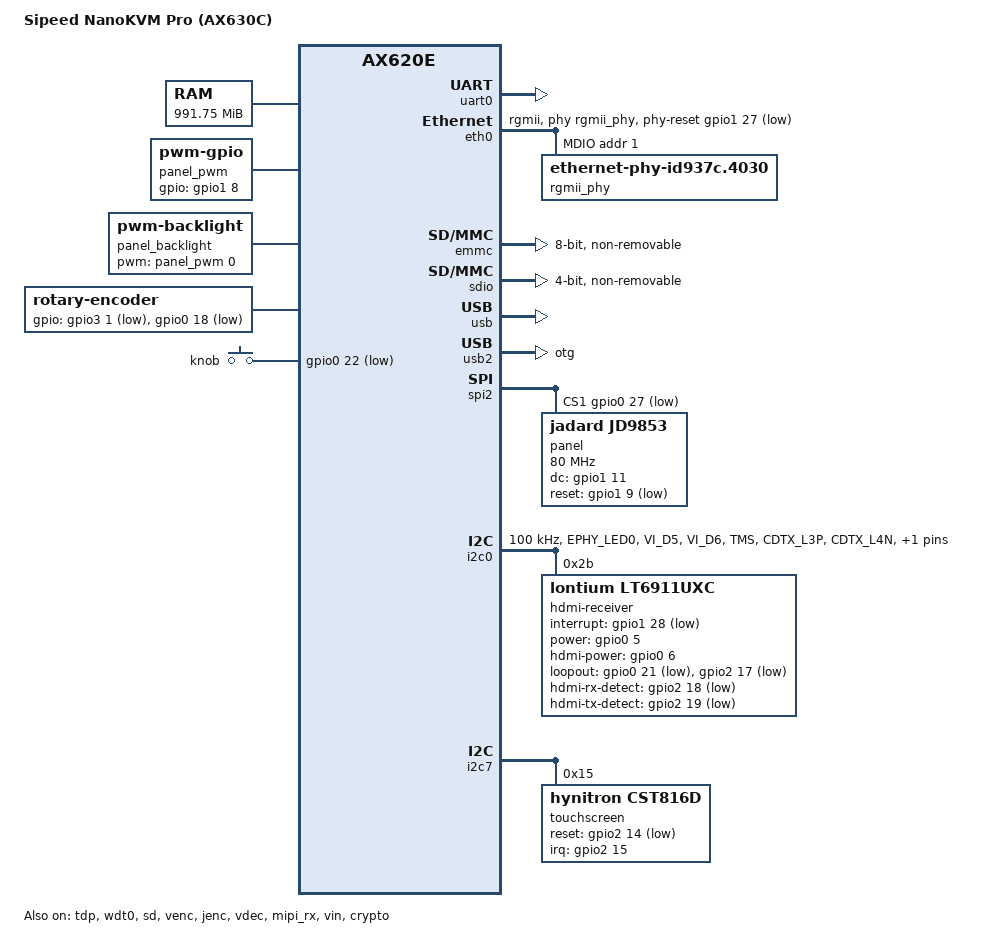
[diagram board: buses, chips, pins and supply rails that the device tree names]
// SPDX-License-Identifier: GPL-2.0-or-later
/*
 * Sipeed NanoKVM Pro (AX630C)
 *
 * DRAM from live U-Boot bdinfo: bank 0x40001000 / 0x7ffff000 (~2 GiB).
 * First 4K at 0x40000000 is the vendor DDR retrain window.
 */

/dts-v1/;

#include "ax620e.dtsi"
#include <dt-bindings/input/linux-event-codes.h>

/ {
	model = "Sipeed NanoKVM Pro (AX630C)";
	compatible = "sipeed,nanokvm-pro", "axera,ax630c", "axera,ax620e";

	/* The vendor ATF does not implement PSCI SYSTEM_RESET. */
	reboot {
		compatible = "syscon-reboot";
		regmap = <&common_reset>;
		offset = <0xa8>;
		mask = <0x1>;
		value = <0x1>;
		priority = <192>;
	};

	chosen {
		stdout-path = "serial0:115200n8";
		bootargs = "earlycon=uart8250,mmio32,0x04880000 console=ttyS0,115200n8";
	};

	/*
	 * Real DRAM is 1 GiB at 0x40000000. ATF and OP-TEE are omitted
	 * from these ranges. 0x6D400000-0x80000000 is the old CMM window:
	 * the bottom 100 MiB stays a reusable CMA pool, and the top 200 MiB
	 * is the open capture/encoder carveout. Do not pass mem=724M.
	 * Load the DTB at 0x47000000; 0x46000000 is inside OP-TEE.
	 */
	memory@40001000 {
		device_type = "memory";
		reg = <0x0 0x40001000 0x0 0x0003f000>,
		      <0x0 0x40080000 0x0 0x04180000>,
		      <0x0 0x46200000 0x0 0x27200000>,
		      <0x0 0x6d400000 0x0 0x12c00000>;
	};

	reserved-memory {
		#address-cells = <2>;
		#size-cells = <2>;
		ranges;

		ddr_retrain: ddr-retrain@40000000 {
			reg = <0x0 0x40000000 0x0 0x1000>;
			no-map;
		};

		atf_reserved: atf@40040000 {
			reg = <0x0 0x40040000 0x0 0x40000>;
			no-map;
		};

		optee_reserved: optee@44200000 {
			reg = <0x0 0x44200000 0x0 0x2000000>;
			no-map;
		};

		/*
		 * Former CMM window, bottom 100 MiB. The top 200 MiB is
		 * no-map below so the encoder and capture DMA see fixed
		 * bus addresses. No IOMMU.
		 */
		cmm_cma: cmm-cma@6d400000 {
			compatible = "shared-dma-pool";
			reusable;
			reg = <0x0 0x6d400000 0x0 0x06400000>;
			linux,cma-default;
		};

		/* Encoder frame buffers. The kernel does not map these. */
		venc_framebuf: venc-framebuf@73800000 {
			reg = <0x0 0x73800000 0x0 0x06000000>;
			no-map;
		};

		/* Capture buffers. Coherent pool, power-of-two slots. */
		capture_pool: capture-pool@79800000 {
			compatible = "shared-dma-pool";
			reg = <0x0 0x79800000 0x0 0x06000000>;
			no-map;
		};

		/* VCMD command, status, and register pools. */
		venc_cmdbuf: venc-cmdbuf@7f800000 {
			compatible = "shared-dma-pool";
			reg = <0x0 0x7f800000 0x0 0x00800000>;
			no-map;
		};
	};
};

&uart0 {
	status = "okay";
};

&tdp {
	status = "okay";
};

&wdt0 {
	status = "okay";
};

&eth0 {
	status = "okay";
	phy-mode = "rgmii";
	phy-handle = <&rgmii_phy>;
	phy-reset-gpios = <&gpio1 27 GPIO_ACTIVE_LOW>;
	pinctrl-names = "default";
	pinctrl-0 = <&ephy_rstn_gpio_pins>;

	mdio {
		compatible = "snps,dwmac-mdio";
		#address-cells = <1>;
		#size-cells = <0>;

		rgmii_phy: ethernet-phy@1 {
			/* JL2xxx 0x937c403x. Do not let RTL8211F claim a bad ID read. */
			compatible = "ethernet-phy-id937c.4030";
			reg = <1>;
		};
	};
};

&emmc {
	max-frequency = <200000000>;
	bus-width = <8>;
	no-sdio;
	no-sd;
	non-removable;
	disable-wp;
	cap-mmc-highspeed;
	mmc-hs200-1_8v;
	/* Vendor masks a bogus clock multiplier and timeout-clk bit. */
	sdhci-caps-mask = <0x2 0x03200000>;
	cdns,phy-input-delay-sd-highspeed = <2>;
	cdns,phy-input-delay-legacy = <4>;
	cdns,phy-input-delay-sd-uhs-sdr12 = <1>;
	cdns,phy-input-delay-sd-uhs-sdr25 = <2>;
	cdns,phy-input-delay-sd-uhs-sdr50 = <1>;
	cdns,phy-input-delay-sd-uhs-ddr50 = <2>;
	cdns,phy-input-delay-mmc-highspeed = <2>;
	cdns,phy-input-delay-mmc-ddr = <2>;
	cdns,phy-dll-delay-sdclk = <45>;
	cdns,phy-dll-delay-sdclk-hsmmc = <31>;
	cdns,phy-dll-delay-strobe = <18>;
	fixed-emmc-driver-type = <4>;
	status = "okay";
};

&sd {
	bus-width = <4>;
	max-frequency = <200000000>;
	cap-sd-highspeed;
	sd-uhs-sdr12;
	sd-uhs-sdr25;
	sd-uhs-sdr50;
	sd-uhs-ddr50;
	sd-uhs-sdr104;
	no-sdio;
	no-mmc;
	disable-wp;
	/* Vendor NanoKVM DT polls; GPIO1_A11 is the Desk panel DC line. */
	broken-cd;
	cdns,phy-input-delay-sd-highspeed = <2>;
	cdns,phy-input-delay-legacy = <3>;
	cdns,phy-input-delay-sd-uhs-sdr12 = <3>;
	cdns,phy-input-delay-sd-uhs-sdr25 = <2>;
	cdns,phy-input-delay-sd-uhs-sdr50 = <1>;
	cdns,phy-input-delay-sd-uhs-ddr50 = <1>;
	cdns,phy-dll-delay-sdclk = <0>;
	pinctrl-names = "default";
	pinctrl-0 = <&sd_clk_pins &sd_cmd_pins &sd_dat0_pins
		     &sd_dat1_pins &sd_dat2_pins &sd_dat3_pins
		     &sd_power_pins &sd_voltage_pins>;
	status = "okay";
};

&sdio {
	bus-width = <4>;
	max-frequency = <50000000>;
	no-1-8-v;
	no-sd;
	no-mmc;
	non-removable;
	cap-sd-highspeed;
	pinctrl-names = "default";
	pinctrl-0 = <&sdio_clk_pins &sdio_cmd_pins &sdio_dat0_pins
		     &sdio_dat1_pins &sdio_dat2_pins &sdio_dat3_pins>;
	status = "okay";
};

&usb {
	status = "okay";
};

/*
 * The PC-facing port is this DWC3. Boot as a gadget so HID and virtual
 * media enumerate. usb-role-switch plus dual-role lets userspace write
 * /sys/class/usb_role/<controller>/role (device or host) without a reboot.
 * The Axera glue sets USB2_VBUSVALID on the device role.
 */
&usb2 {
	dr_mode = "otg";
	usb-role-switch;
	role-switch-default-mode = "peripheral";
};

/*
 * Desk 1.47" JD9853. U-Boot on nanokvm-pro-105 already muxes SPI2 SCLK/MOSI,
 * CS GPIO0_A27, reset GPIO1_A9, DC GPIO1_A11 and TE GPIO2_A13. Do not enable
 * this node on the ATX board (ax630c-nanokvm-pro-atx.dts).
 *
 * dc is ACTIVE_HIGH: fbtft's logical GPIO API drives data high. reset stays
 * ACTIVE_LOW. No te-gpios. CS0 is the native select (nothing on that pad);
 * the panel is CS1.
 *
 * Backlight pad EMAC_PTP_PPS0 is GPIO1_A8. The GPIO PWM driver owns this
 * line and exposes a standard backlight to the screen display service.
 */
/ {
	panel_pwm: panel-pwm {
		compatible = "pwm-gpio";
		#pwm-cells = <3>;
		gpios = <&gpio1 8 GPIO_ACTIVE_HIGH>;
	};

	panel_backlight: panel-backlight {
		compatible = "pwm-backlight";
		pwms = <&panel_pwm 0 1000000 0>;
		brightness-levels = <0 255>;
		num-interpolated-steps = <255>;
		default-brightness-level = <255>;
	};
};

&spi2 {
	status = "okay";
	cs-gpios = <0>, <&gpio0 27 GPIO_ACTIVE_LOW>;

	panel@1 {
		compatible = "jadard,jd9853";
		reg = <1>;
		spi-max-frequency = <80000000>;
		spi-cpol;
		spi-cpha;
		buswidth = <8>;
		rotate = <0>;
		fps = <90>;
		dc-gpios = <&gpio1 11 GPIO_ACTIVE_HIGH>;
		reset-gpios = <&gpio1 9 GPIO_ACTIVE_LOW>;
	};
};

/*
 * Desk knob: gray encoder on GPIO3_A1 + GPIO0_A18, click on GPIO0_A22.
 * Active-low. The knob rests every half-period, so use half-period
 * decoding for one REL_X step per detent. No autorepeat: a hold is one
 * press the screen treats as back.
 */
/ {
	rotary-encoder {
		compatible = "rotary-encoder";
		pinctrl-names = "default";
		pinctrl-0 = <&knob_a_pins>, <&knob_b_pins>;
		gpios = <&gpio3 1 GPIO_ACTIVE_LOW>, <&gpio0 18 GPIO_ACTIVE_LOW>;
		linux,axis = <0>;
		rotary-encoder,encoding = "gray";
		rotary-encoder,relative-axis;
		rotary-encoder,steps-per-period = <2>;
	};

	gpio-keys {
		compatible = "gpio-keys";
		pinctrl-names = "default";
		pinctrl-0 = <&knob_press_pins>;

		knob {
			label = "knob";
			linux,code = <KEY_ENTER>;
			gpios = <&gpio0 22 GPIO_ACTIVE_LOW>;
			debounce-interval = <10>;
		};
	};
};

&venc {
	compatible = "axera,ax630c-vc8000e";
	status = "okay";
	memory-region = <&venc_cmdbuf>, <&venc_framebuf>;
	memory-region-names = "cmdbuf", "framebuf";
	assigned-clocks = <&clk_vpu AX620X_CLK_VPU_GLB_SEL>;
	assigned-clock-parents = <&clk_common AX620X_CPLL_312M>;
};

&jenc {
	status = "okay";
};

&vdec {
	status = "okay";
};

&mipi_rx {
	status = "okay";
};

&vin {
	status = "okay";
	memory-region = <&capture_pool>;
};

/*
 * LT6911UXC on I2C0. Our pinctrl does not switch the mux when a GPIO is
 * claimed, so every pad is muxed to its GPIO function here. EPHY_LED0 is
 * the bridge interrupt (bootloader leaves the EPHY LED function). The other
 * pads are the bridge rails, loop-out enables, and cable detects.
 * Do not use function "dphy_rx"; this controller rejects it.
 */
&i2c0 {
	status = "okay";
	clock-frequency = <100000>;
	pinctrl-0 = <&i2c0_scl_pins>, <&i2c0_sda_pins>,
		    <&lt6911_int_pins>, <&lt6911_power_pins>,
		    <&lt6911_hdmi_power_pins>, <&lt6911_loopout0_pins>,
		    <&lt6911_loopout1_pins>, <&lt6911_rx_det_pins>,
		    <&lt6911_tx_det_pins>;

	hdmi-receiver@2b {
		compatible = "lontium,lt6911uxc";
		reg = <0x2b>;

		interrupt-gpios = <&gpio1 28 GPIO_ACTIVE_LOW>;
		power-gpios = <&gpio0 5 GPIO_ACTIVE_HIGH>;
		hdmi-power-gpios = <&gpio0 6 GPIO_ACTIVE_HIGH>;
		loopout-gpios = <&gpio0 21 GPIO_ACTIVE_LOW>,
				<&gpio2 17 GPIO_ACTIVE_LOW>;
		hdmi-rx-detect-gpios = <&gpio2 18 GPIO_ACTIVE_LOW>;
		hdmi-tx-detect-gpios = <&gpio2 19 GPIO_ACTIVE_LOW>;
	};
};

/* Desk touch panel: vendor CST8xxT firmware targets the CST816D (0xb6). */
&i2c7 {
	status = "okay";

	touchscreen@15 {
		compatible = "hynitron,cst816d";
		reg = <0x15>;
		pinctrl-names = "default";
		pinctrl-0 = <&touch_irq_pins>, <&touch_reset_pins>;
		interrupt-parent = <&gpio2>;
		interrupts = <15 IRQ_TYPE_EDGE_FALLING>;
		reset-gpios = <&gpio2 14 GPIO_ACTIVE_LOW>;
		touchscreen-size-x = <172>;
		touchscreen-size-y = <320>;
	};
};

&crypto {
	status = "okay";
};

&pinctrl {
	touch_irq_pins: touch-irq-pins {
		pins = "CDTX_L2P";
		function = "GPIO2_A15";
		bias-pull-up;
	};

	touch_reset_pins: touch-reset-pins {
		pins = "CDTX_L2N";
		function = "GPIO2_A14";
	};

	lt6911_int_pins: lt6911-int-pins {
		pins = "EPHY_LED0";
		function = "GPIO1_A28";
		bias-pull-up;
		drive-strength = <3>;
		input-schmitt-disable;
	};

	lt6911_power_pins: lt6911-power-pins {
		pins = "VI_D5";
		function = "GPIO0_A5";
		drive-strength = <3>;
	};

	lt6911_hdmi_power_pins: lt6911-hdmi-power-pins {
		pins = "VI_D6";
		function = "GPIO0_A6";
		drive-strength = <3>;
	};

	lt6911_loopout0_pins: lt6911-loopout0-pins {
		pins = "TMS";
		function = "GPIO0_A21";
		drive-strength = <3>;
	};

	lt6911_loopout1_pins: lt6911-loopout1-pins {
		pins = "CDTX_L3P";
		function = "GPIO2_A17";
		drive-strength = <3>;
	};

	lt6911_rx_det_pins: lt6911-rx-det-pins {
		pins = "CDTX_L4N";
		function = "GPIO2_A18";
		drive-strength = <3>;
	};

	lt6911_tx_det_pins: lt6911-tx-det-pins {
		pins = "CDTX_L4P";
		function = "GPIO2_A19";
		drive-strength = <3>;
	};
};
